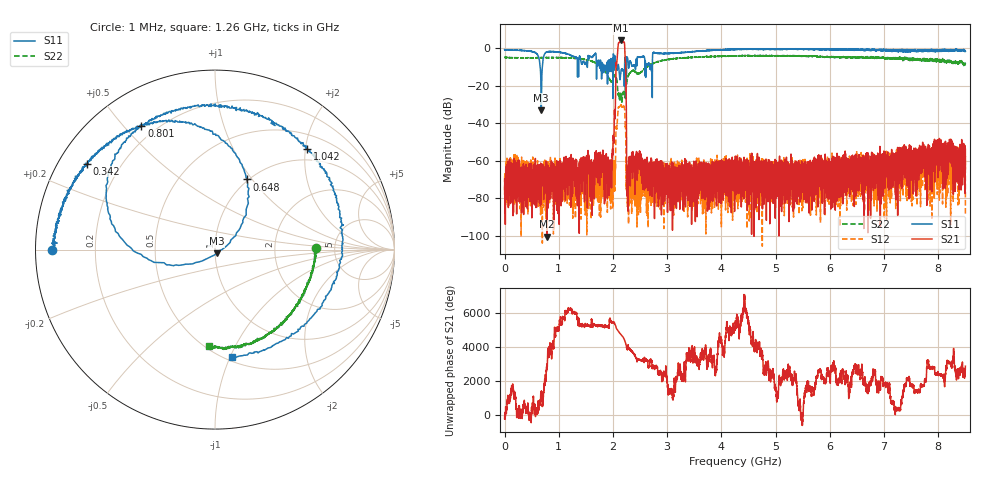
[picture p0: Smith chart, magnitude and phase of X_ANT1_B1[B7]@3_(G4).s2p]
#  HZ  S  RI  R  50.00
! Rohde & Schwarz Vector Network Analyzer
! Rohde-Schwarz,ZNBT8-20Port,1318700624101681,3.50
! Created: UTC 7/15/2025, 2:13:30 PM
! freq[Hz]  re:S1010  im:S1010  re:S0310  im:S0310  re:S1003  im:S1003  re:S33  im:S33
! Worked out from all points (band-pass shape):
!   8500 points, 1 MHz to 8.5 GHz, reference 50 ohm
!   highest |S21| = 4.07 dB at 2.144 GHz (marker M1); lowest = -100.6 dB at 780 MHz (marker M2)
!   |S21| within 3 dB of the highest: 2.093 GHz to 2.216 GHz (123 MHz wide, 5.71 % of centre)
!   lowest |S11| = -33.1 dB at 678 MHz (marker M3), VSWR 1.05, Z = 50.9 - j2.05 ohm
!   |S11| at or under -10 dB: 658.1 MHz to 696.3 MHz (38.19 MHz wide, 5.64 % of centre); 2.062 GHz to 2.089 GHz (26.86 MHz wide, 1.29 % of centre); 2.106 GHz to 2.214 GHz (107.7 MHz wide, 4.99 % of centre)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
!   |S22| runs from -28.9 to -3.9 dB; largest |S21 - S12| = 1.6
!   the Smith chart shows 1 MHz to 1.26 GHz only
!   S11 on the Smith chart (normalised r, x): 1 MHz: 0.05, -0.00; 342 MHz: 0.08, +0.30; 648 MHz: 0.98, +0.94; 801 MHz: 0.15, +0.56; 1.042 GHz: 0.77, +2.04; 1.26 GHz: 0.54, -1.02
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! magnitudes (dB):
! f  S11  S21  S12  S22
! 1 MHz  -0.9  -77.8  -75.8  -5.0
! 342 MHz  -1.3  -65.2  -60.3  -5.2
! 648 MHz  -7.3  -63.0  -69.2  -5.2
! 678 MHz  -33.1  -62.6  -66.4  -5.1
! 780 MHz  -2.0  -100.6  -63.6  -5.1
! 801 MHz  -1.9  -69.5  -73.3  -5.1
! 1.042 GHz  -2.4  -73.0  -70.1  -5.1
! 1.26 GHz  -4.4  -65.5  -81.9  -5.3
! 1.418 GHz  -8.2  -64.6  -66.9  -5.8
! 1.954 GHz  -6.8  -72.2  -66.2  -17.5
! 2.01 GHz  -3.3  -47.7  -72.9  -16.2
! 2.089 GHz  -10.1  -0.5  -34.7  -23.5
! 2.144 GHz  -13.2  4.1  -30.2  -24.9
! 2.205 GHz  -15.1  3.0  -31.2  -23.9
! 2.294 GHz  -9.7  -65.9  -73.4  -13.7
! 2.834 GHz  -2.8  -66.1  -68.0  -7.3
! 4.251 GHz  -0.7  -67.7  -69.4  -4.1
! 5.667 GHz  -0.3  -86.4  -68.5  -4.3
! 7.084 GHz  -1.1  -62.6  -69.1  -5.2
! 8.014 GHz  -1.3  -54.2  -67.7  -6.8
! 8.447 GHz  -1.1  -73.0  -58.3  -7.8
! 8.5 GHz  -1.7  -53.9  -89.2  -8.4
